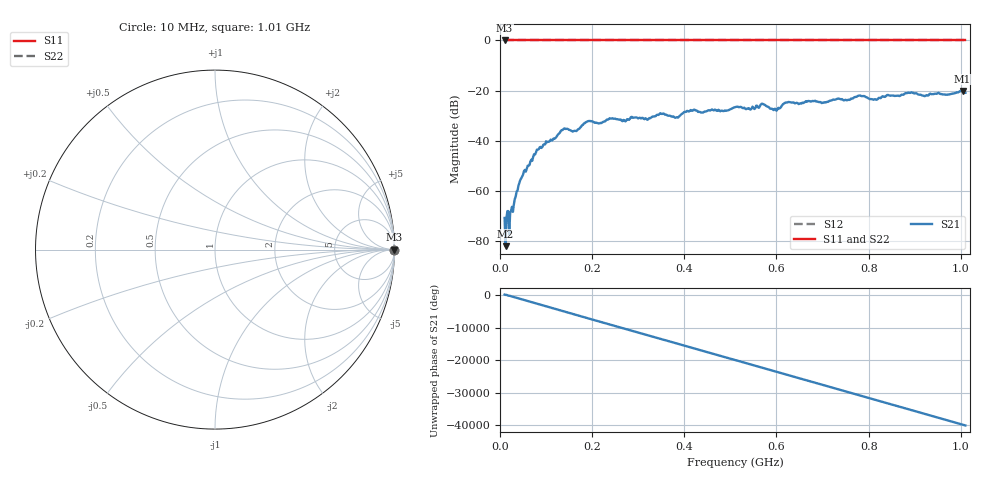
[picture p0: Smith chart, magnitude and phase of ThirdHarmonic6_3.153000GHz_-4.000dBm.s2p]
! 8/17/2025 9:26:39 AM
! C:\ANRITSUVNA\TEMP\TEMP.S2P
! CHANNEL.1
! TR.MEASUREMENT
! RAW.DATA
! RF.CORRECTION.OFF
! AVERAGING.OFF
! IF.BANDWIDTH: 5KHZ
! SWEEPTYPE:  FREQ.SWEEP(Linear)
! Reference Plane Port Info
! PORT:  PORT1  PORT2
! DISTANCE:  0  m  0  m
! TIME:  0  s  0  s
! PHASE.OFFSET:  0  deg.  0  deg.
! LOSS:  0  dB  0  dB
! REF.LOSS:  0  dB  0  dB
! REF.FREQ:  0  Hz  0  Hz
! Power Info
! POWER:  -20  dBm  -20  dBm
! EFF.POWER:  -20  dBm  -20  dBm
! SOURCE.ATTEN:  0  dB  0  dB
! TEST.ATTEN:  0  dB  0  dB
# GHZ S RI R 50.0
! FREQ.GHZ  S11RE  S11IM  S21RE  S21IM  S12RE  S12IM  S22RE  S22IM
!; PortSelection: Port_12
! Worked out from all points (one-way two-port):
!   501 points, 10 MHz to 1.01 GHz, reference 50 ohm
!   highest |S21| = -20.16 dB at 1.004 GHz (marker M1); lowest = -81.9 dB at 12 MHz (marker M2)
!   lowest |S11| = 0.0 dB at 10 MHz (marker M3)
!   |S11| at or under -10 dB: nowhere
!   |S22| runs from 0.0 to 0.0 dB; largest |S21 - S12| = 1.1
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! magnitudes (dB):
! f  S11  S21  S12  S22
! 10 MHz  0.0  -70.7  0.0  0.0
! 12 MHz  0.0  -81.9  0.0  0.0
! 16 MHz  0.0  -68.0  0.0  0.0
! 18 MHz  0.0  -67.9  0.0  0.0
! 24 MHz  0.0  -67.9  0.0  0.0
! 48 MHz  0.0  -54.2  0.0  0.0
! 82 MHz  0.0  -43.5  0.0  0.0
! 136 MHz  0.0  -35.7  0.0  0.0
! 162 MHz  0.0  -36.0  0.0  0.0
! 178 MHz  0.0  -33.8  0.0  0.0
! 192 MHz  0.0  -32.1  0.0  0.0
! 344 MHz  0.0  -29.7  0.0  0.0
! 384 MHz  0.0  -30.6  0.0  0.0
! 418 MHz  0.0  -28.0  0.0  0.0
! 510 MHz  0.0  -26.5  0.0  0.0
! 570 MHz  0.0  -25.2  0.0  0.0
! 598 MHz  0.0  -27.3  0.0  0.0
! 622 MHz  0.0  -24.8  0.0  0.0
! 678 MHz  0.0  -24.1  0.0  0.0
! 844 MHz  0.0  -21.8  0.0  0.0
! 1.004 GHz  0.0  -20.2  0.0  0.0
! 1.01 GHz  0.0  -20.8  0.0  0.0
